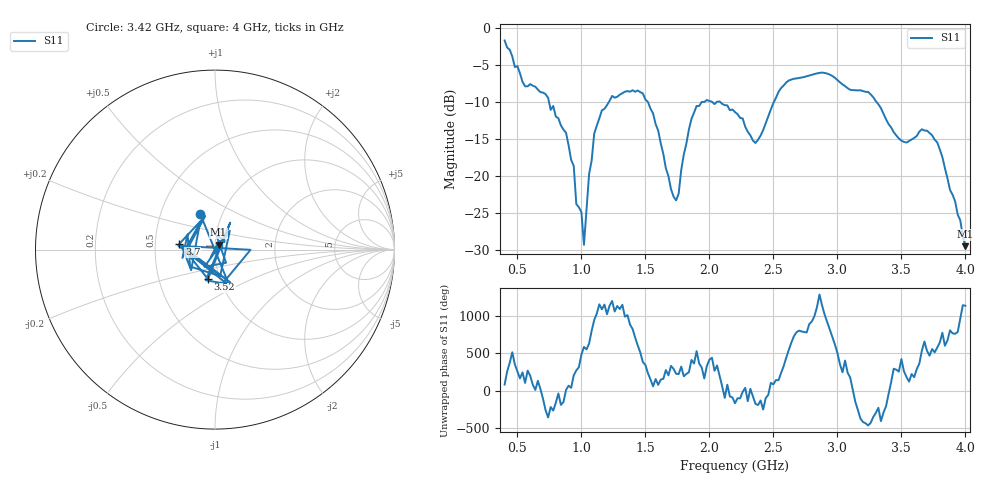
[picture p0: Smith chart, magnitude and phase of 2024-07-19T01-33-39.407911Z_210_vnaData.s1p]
!Created with skrf (http://scikit-rf.org).
# Hz S RI R 50.0
!freq ReS11 ImS11
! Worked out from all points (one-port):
!   181 points, 400 MHz to 4 GHz, reference 50 ohm
!   lowest |S11| = -29.5 dB at 4 GHz (marker M1), VSWR 1.07, Z = 52 + j2.78 ohm
!   |S11| at or under -10 dB: 746.3 MHz to 1.216 GHz (470.1 MHz wide, 47.9 % of centre); 1.517 GHz to 1.964 GHz (447 MHz wide, 25.7 % of centre); 3.303 GHz to end of sweep (the widest 3 of 5)
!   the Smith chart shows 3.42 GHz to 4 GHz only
!   S11 on the Smith chart (normalised r, x): 3.42 GHz: 0.79, +0.32; 3.52 GHz: 0.88, -0.30; 3.7 GHz: 0.67, +0.04; 4 GHz: 1.04, +0.06
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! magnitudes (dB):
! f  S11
! 400 MHz  -1.7
! 560 MHz  -7.9
! 720 MHz  -9.0
! 860 MHz  -13.8
! 940 MHz  -18.7
! 960 MHz  -23.8
! 1 GHz  -24.9
! 1.02 GHz  -29.3
! 1.06 GHz  -19.8
! 1.1 GHz  -14.3
! 1.3 GHz  -9.1
! 1.48 GHz  -8.9
! 1.56 GHz  -11.6
! 1.72 GHz  -22.8
! 1.76 GHz  -22.4
! 1.84 GHz  -13.8
! 1.9 GHz  -10.6
! 2.2 GHz  -11.4
! 2.36 GHz  -15.6
! 2.66 GHz  -6.9
! 3.1 GHz  -8.4
! 3.24 GHz  -8.7
! 3.42 GHz  -13.5
! 3.52 GHz  -15.4
! 3.56 GHz  -15.3
! 3.7 GHz  -13.9
! 3.82 GHz  -17.5
! 4 GHz  -29.5
